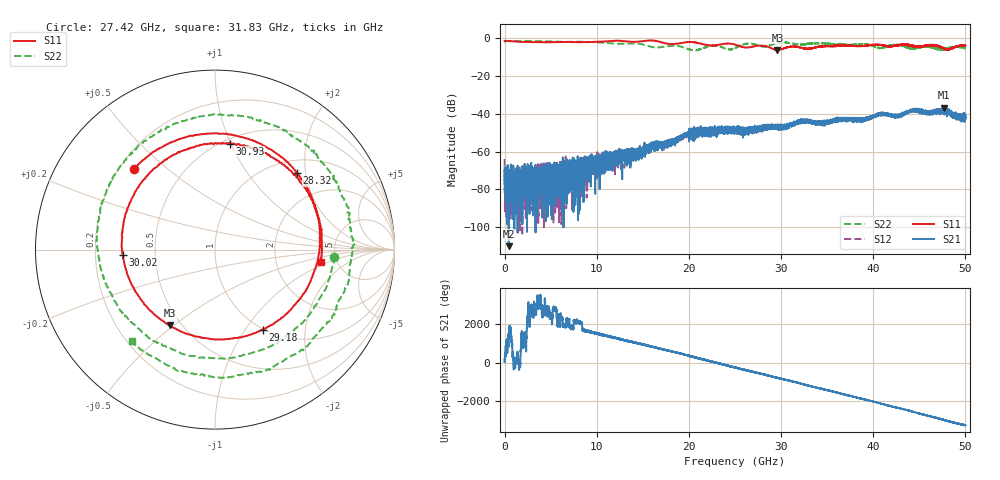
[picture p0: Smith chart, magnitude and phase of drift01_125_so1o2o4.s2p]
!Created with skrf (http://scikit-rf.org).
# Hz S RI R 50.0
!freq ReS11 ImS11 ReS21 ImS21 ReS12 ImS12 ReS22 ImS22
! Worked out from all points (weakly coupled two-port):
!   10001 points, 300 kHz to 50 GHz, reference 50 ohm
!   highest |S21| = -36.73 dB at 47.69 GHz (marker M1); lowest = -110.0 dB at 440.3 MHz (marker M2)
!   lowest |S11| = -6.2 dB at 29.61 GHz (marker M3), VSWR 2.93, Z = 21.8 - j24.3 ohm
!   |S11| at or under -10 dB: nowhere
!   |S22| runs from -6.4 to -1.4 dB; largest |S21 - S12| = 0.004
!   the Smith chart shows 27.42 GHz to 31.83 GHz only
!   S11 on the Smith chart (normalised r, x): 27.42 GHz: 0.26, +0.39; 28.32 GHz: 1.28, +1.78; 29.18 GHz: 0.99, -1.21; 30.02 GHz: 0.32, -0.03; 30.93 GHz: 0.54, +0.99; 31.83 GHz: 3.72, -0.82
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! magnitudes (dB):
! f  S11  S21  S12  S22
! 300 kHz  -1.3  -68.4  -63.9  -2.1
! 255.3 MHz  -1.4  -98.3  -75.0  -1.4
! 440.3 MHz  -1.4  -110.0  -75.3  -1.4
! 5.585 GHz  -2.0  -71.2  -68.1  -1.7
! 8.335 GHz  -2.0  -66.0  -66.8  -1.8
! 16.67 GHz  -1.6  -56.3  -55.5  -4.8
! 18.62 GHz  -2.9  -54.1  -53.9  -3.9
! 20.37 GHz  -2.0  -51.9  -49.2  -6.3
! 22.62 GHz  -3.8  -51.5  -47.8  -3.8
! 25 GHz  -3.3  -47.8  -48.1  -5.1
! 27.42 GHz  -3.9  -48.3  -48.0  -3.5
! 28.32 GHz  -4.1  -46.6  -46.9  -4.2
! 29.18 GHz  -5.7  -46.8  -46.8  -3.0
! 29.61 GHz  -6.2  -47.1  -47.7  -2.5
! 30.02 GHz  -5.8  -46.7  -46.7  -2.3
! 30.93 GHz  -4.5  -45.9  -46.8  -2.5
! 31.83 GHz  -4.5  -44.2  -44.7  -3.2
! 33.34 GHz  -5.3  -44.3  -44.7  -2.7
! 41.67 GHz  -4.3  -40.5  -40.5  -4.2
! 46.48 GHz  -3.9  -39.5  -38.7  -4.8
! 47.69 GHz  -5.4  -36.7  -37.7  -5.9
! 50 GHz  -3.8  -40.5  -41.7  -5.3
